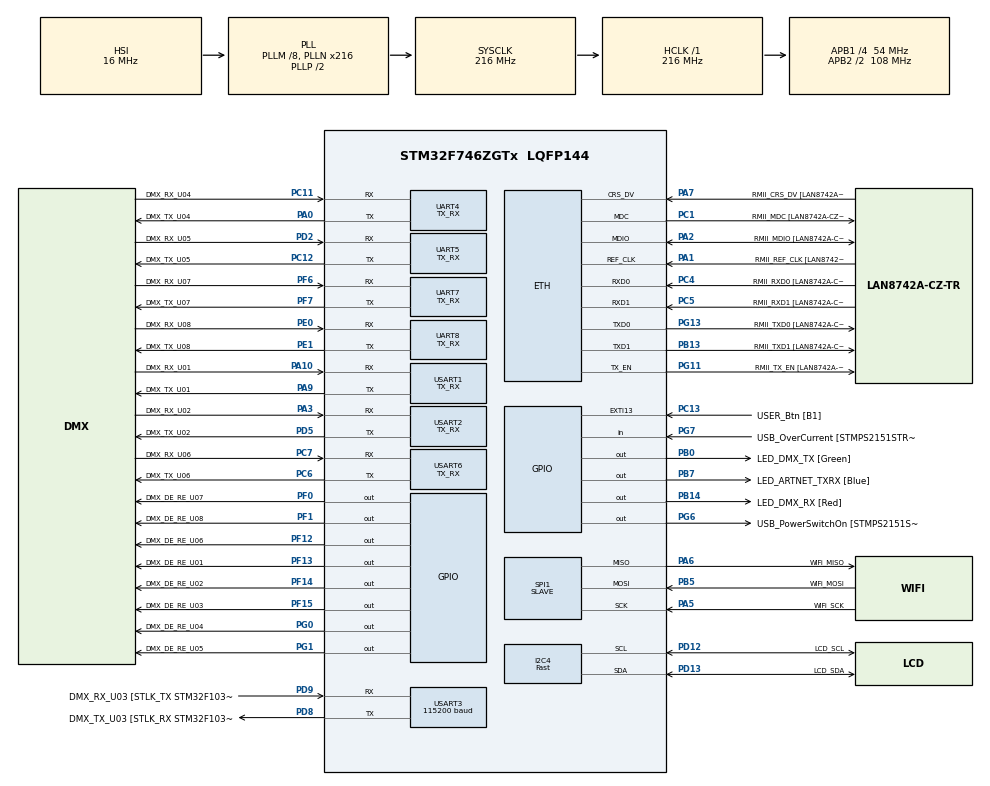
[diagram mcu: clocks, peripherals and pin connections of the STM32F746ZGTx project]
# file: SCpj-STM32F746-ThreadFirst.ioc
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CORTEX_M7.ART_ACCLERATOR_ENABLE=0
CORTEX_M7.CPU_DCache=Disabled
CORTEX_M7.CPU_ICache=Disabled
CORTEX_M7.FlashInterface=AXI_Enabled
CORTEX_M7.MPU_Control=__NULL
CORTEX_M7.PREFETCH_ENABLE=0
Dma.I2C4_RX.1.Direction=DMA_PERIPH_TO_MEMORY
Dma.I2C4_RX.1.FIFOMode=DMA_FIFOMODE_DISABLE
Dma.I2C4_RX.1.Instance=DMA1_Stream2
Dma.I2C4_RX.1.MemDataAlignment=DMA_MDATAALIGN_BYTE
Dma.I2C4_RX.1.MemInc=DMA_MINC_ENABLE
Dma.I2C4_RX.1.Mode=DMA_NORMAL
Dma.I2C4_RX.1.PeriphDataAlignment=DMA_PDATAALIGN_BYTE
Dma.I2C4_RX.1.PeriphInc=DMA_PINC_DISABLE
Dma.I2C4_RX.1.Priority=DMA_PRIORITY_LOW
Dma.I2C4_TX.2.Direction=DMA_MEMORY_TO_PERIPH
Dma.I2C4_TX.2.FIFOMode=DMA_FIFOMODE_DISABLE
Dma.I2C4_TX.2.Instance=DMA1_Stream5
Dma.I2C4_TX.2.MemDataAlignment=DMA_MDATAALIGN_BYTE
Dma.I2C4_TX.2.MemInc=DMA_MINC_ENABLE
Dma.I2C4_TX.2.Mode=DMA_NORMAL
Dma.I2C4_TX.2.PeriphDataAlignment=DMA_PDATAALIGN_BYTE
Dma.I2C4_TX.2.PeriphInc=DMA_PINC_DISABLE
Dma.I2C4_TX.2.Priority=DMA_PRIORITY_LOW
Dma.Request0=USART6_TX
Dma.Request1=I2C4_RX
Dma.Request2=I2C4_TX
Dma.Request3=UART4_TX
Dma.Request4=USART2_TX
Dma.Request5=USART1_TX
Dma.Request6=UART8_TX
Dma.Request7=UART7_TX
Dma.Request8=UART5_TX
Dma.UART4_TX.3.Direction=DMA_MEMORY_TO_PERIPH
Dma.UART4_TX.3.FIFOMode=DMA_FIFOMODE_DISABLE
Dma.UART4_TX.3.Instance=DMA1_Stream4
Dma.UART4_TX.3.MemDataAlignment=DMA_MDATAALIGN_BYTE
Dma.UART4_TX.3.MemInc=DMA_MINC_ENABLE
Dma.UART4_TX.3.Mode=DMA_NORMAL
Dma.UART4_TX.3.PeriphDataAlignment=DMA_PDATAALIGN_BYTE
Dma.UART4_TX.3.PeriphInc=DMA_PINC_DISABLE
Dma.UART4_TX.3.Priority=DMA_PRIORITY_LOW
Dma.UART5_TX.8.Direction=DMA_MEMORY_TO_PERIPH
Dma.UART5_TX.8.FIFOMode=DMA_FIFOMODE_DISABLE
Dma.UART5_TX.8.Instance=DMA1_Stream7
Dma.UART5_TX.8.MemDataAlignment=DMA_MDATAALIGN_BYTE
Dma.UART5_TX.8.MemInc=DMA_MINC_ENABLE
Dma.UART5_TX.8.Mode=DMA_NORMAL
Dma.UART5_TX.8.PeriphDataAlignment=DMA_PDATAALIGN_BYTE
Dma.UART5_TX.8.PeriphInc=DMA_PINC_DISABLE
Dma.UART5_TX.8.Priority=DMA_PRIORITY_LOW
Dma.UART7_TX.7.Direction=DMA_MEMORY_TO_PERIPH
Dma.UART7_TX.7.FIFOMode=DMA_FIFOMODE_DISABLE
Dma.UART7_TX.7.Instance=DMA1_Stream1
Dma.UART7_TX.7.MemDataAlignment=DMA_MDATAALIGN_BYTE
Dma.UART7_TX.7.MemInc=DMA_MINC_ENABLE
Dma.UART7_TX.7.Mode=DMA_NORMAL
Dma.UART7_TX.7.PeriphDataAlignment=DMA_PDATAALIGN_BYTE
Dma.UART7_TX.7.PeriphInc=DMA_PINC_DISABLE
Dma.UART7_TX.7.Priority=DMA_PRIORITY_LOW
Dma.UART8_TX.6.Direction=DMA_MEMORY_TO_PERIPH
Dma.UART8_TX.6.FIFOMode=DMA_FIFOMODE_DISABLE
Dma.UART8_TX.6.Instance=DMA1_Stream0
Dma.UART8_TX.6.MemDataAlignment=DMA_MDATAALIGN_BYTE
Dma.UART8_TX.6.MemInc=DMA_MINC_ENABLE
Dma.UART8_TX.6.Mode=DMA_NORMAL
Dma.UART8_TX.6.PeriphDataAlignment=DMA_PDATAALIGN_BYTE
Dma.UART8_TX.6.PeriphInc=DMA_PINC_DISABLE
Dma.UART8_TX.6.Priority=DMA_PRIORITY_LOW
Dma.USART1_TX.5.Direction=DMA_MEMORY_TO_PERIPH
Dma.USART1_TX.5.FIFOMode=DMA_FIFOMODE_DISABLE
Dma.USART1_TX.5.Instance=DMA2_Stream7
Dma.USART1_TX.5.MemDataAlignment=DMA_MDATAALIGN_BYTE
Dma.USART1_TX.5.MemInc=DMA_MINC_ENABLE
Dma.USART1_TX.5.Mode=DMA_NORMAL
Dma.USART1_TX.5.PeriphDataAlignment=DMA_PDATAALIGN_BYTE
Dma.USART1_TX.5.PeriphInc=DMA_PINC_DISABLE
Dma.USART1_TX.5.Priority=DMA_PRIORITY_LOW
Dma.USART2_TX.4.Direction=DMA_MEMORY_TO_PERIPH
Dma.USART2_TX.4.FIFOMode=DMA_FIFOMODE_DISABLE
Dma.USART2_TX.4.Instance=DMA1_Stream6
Dma.USART2_TX.4.MemDataAlignment=DMA_MDATAALIGN_BYTE
Dma.USART2_TX.4.MemInc=DMA_MINC_ENABLE
Dma.USART2_TX.4.Mode=DMA_NORMAL
Dma.USART2_TX.4.PeriphDataAlignment=DMA_PDATAALIGN_BYTE
Dma.USART2_TX.4.PeriphInc=DMA_PINC_DISABLE
Dma.USART2_TX.4.Priority=DMA_PRIORITY_LOW
Dma.USART6_TX.0.Direction=DMA_MEMORY_TO_PERIPH
Dma.USART6_TX.0.FIFOMode=DMA_FIFOMODE_DISABLE
Dma.USART6_TX.0.Instance=DMA2_Stream6
Dma.USART6_TX.0.MemDataAlignment=DMA_MDATAALIGN_BYTE
Dma.USART6_TX.0.MemInc=DMA_MINC_ENABLE
Dma.USART6_TX.0.Mode=DMA_NORMAL
Dma.USART6_TX.0.PeriphDataAlignment=DMA_PDATAALIGN_BYTE
Dma.USART6_TX.0.PeriphInc=DMA_PINC_DISABLE
Dma.USART6_TX.0.Priority=DMA_PRIORITY_LOW
ETH.AutoNegotiation=ETH_AUTONEGOTIATION_ENABLE
ETH.ChecksumMode=ETH_CHECKSUM_BY_HARDWARE
ETH.MACAddr=00\:80\:E1\:00\:00\:00
ETH.MediaInterface=ETH_MEDIA_INTERFACE_RMII
ETH.PHY_AUTONEGOTIATION=0x1000
ETH.PHY_AUTONEGO_COMPLETE=0x0020
ETH.PHY_BCR=0x00
ETH.PHY_BSR=0x01
ETH.PHY_CONFIG_DELAY=0x00000FFF
ETH.PHY_DUPLEX_STATUS=0x0010
ETH.PHY_FULLDUPLEX_100M=0x2100
ETH.PHY_FULLDUPLEX_10M=0x0100
ETH.PHY_HALFDUPLEX_100M=0x2000
ETH.PHY_HALFDUPLEX_10M=0x0000
ETH.PHY_ISFR=0x001D
ETH.PHY_ISFR_INT4=0x000B
ETH.PHY_ISOLATE=0x0400
ETH.PHY_JABBER_DETECTION=0x0002
ETH.PHY_LINKED_STATUS=0x0004
ETH.PHY_LOOPBACK=0x4000
ETH.PHY_Name_RMII=LAN8742A_PHY_ADDRESS
ETH.PHY_POWERDOWN=0x0800
ETH.PHY_READ_TO=0x0000FFFF
ETH.PHY_RESET=0x8000
ETH.PHY_RESET_DELAY=0x000000FF
ETH.PHY_RESTART_AUTONEGOTIATION=0x0200
ETH.PHY_SPEED_STATUS=0x0004
ETH.PHY_SR=0x1F
ETH.PHY_WRITE_TO=0x0000FFFF
ETH.PhyAddress=0
ETH.RxMode=ETH_RXINTERRUPT_MODE
FREERTOS.HEAP_NUMBER=4
FREERTOS.INCLUDE_eTaskGetState=0
FREERTOS.INCLUDE_pcTaskGetTaskName=0
FREERTOS.INCLUDE_uxTaskGetStackHighWaterMark=0
FREERTOS.INCLUDE_uxTaskPriorityGet=1
FREERTOS.INCLUDE_vTaskCleanUpResources=0
FREERTOS.INCLUDE_vTaskDelay=1
FREERTOS.INCLUDE_vTaskDelayUntil=0
FREERTOS.INCLUDE_vTaskDelete=1
FREERTOS.INCLUDE_vTaskPrioritySet=1
FREERTOS.INCLUDE_vTaskSuspend=1
FREERTOS.INCLUDE_xEventGroupSetBitFromISR=0
FREERTOS.INCLUDE_xQueueGetMutexHolder=0
FREERTOS.INCLUDE_xSemaphoreGetMutexHolder=0
FREERTOS.INCLUDE_xTaskAbortDelay=0
FREERTOS.INCLUDE_xTaskGetCurrentTaskHandle=0
FREERTOS.INCLUDE_xTaskGetHandle=0
FREERTOS.INCLUDE_xTaskGetSchedulerState=1
FREERTOS.INCLUDE_xTaskResumeFromISR=1
FREERTOS.INCLUDE_xTimerPendFunctionCall=0
FREERTOS.MEMORY_ALLOCATION=0
FREERTOS.Tasks01=defaultTask,0,128,StartDefaultTask,Default,NULL,Dynamic,NULL,NULL;DMX_TX_U01,0,128,Start_DMX_TX_U01,Default,NULL,Dynamic,NULL,NULL;DMX_TX_U02,0,128,Start_DMX_TX_U02,Default,NULL,Dynamic,NULL,NULL;DMX_TX_U03,0,128,Start_DMX_TX_U03,Default,NULL,Dynamic,NULL,NULL;DMX_TX_U04,0,128,Start_DMX_TX_U04,Default,NULL,Dynamic,NULL,NULL;DMX_TX_U05,0,128,Start_DMX_TX_U05,Default,NULL,Dynamic,NULL,NULL;DMX_TX_U06,0,128,Start_DMX_TX_U06,Default,NULL,Dynamic,NULL,NULL;DMX_TX_U07,0,128,Start_DMX_TX_U07,Default,NULL,Dynamic,NULL,NULL;DMX_TX_U08,0,128,Start_DMX_TX_U08,Default,NULL,Dynamic,NULL,NULL
FREERTOS.configCHECK_FOR_STACK_OVERFLOW=0
FREERTOS.configENABLE_BACKWARD_COMPATIBILITY=1
FREERTOS.configGENERATE_RUN_TIME_STATS=1
FREERTOS.configIDLE_SHOULD_YIELD=1
FREERTOS.configLIBRARY_LOWEST_INTERRUPT_PRIORITY=15
FREERTOS.configLIBRARY_MAX_SYSCALL_INTERRUPT_PRIORITY=5
FREERTOS.configMAX_CO_ROUTINE_PRIORITIES=2
FREERTOS.configMAX_PRIORITIES=7
FREERTOS.configMAX_TASK_NAME_LEN=16
FREERTOS.configMINIMAL_STACK_SIZE=128
FREERTOS.configQUEUE_REGISTRY_SIZE=8
FREERTOS.configRECORD_STACK_HIGH_ADDRESS=0
FREERTOS.configTICK_RATE_HZ=1000
FREERTOS.configTIMER_QUEUE_LENGTH=10
FREERTOS.configTIMER_TASK_PRIORITY=2
FREERTOS.configTIMER_TASK_STACK_DEPTH=256
FREERTOS.configTOTAL_HEAP_SIZE=15360
FREERTOS.configUSE_APPLICATION_TASK_TAG=0
FREERTOS.configUSE_COUNTING_SEMAPHORES=0
FREERTOS.configUSE_CO_ROUTINES=0
FREERTOS.configUSE_DAEMON_TASK_STARTUP_HOOK=0
FREERTOS.configUSE_IDLE_HOOK=0
FREERTOS.configUSE_MALLOC_FAILED_HOOK=0
FREERTOS.configUSE_MUTEXES=1
FREERTOS.configUSE_PREEMPTION=1
FREERTOS.configUSE_RECURSIVE_MUTEXES=0
FREERTOS.configUSE_STATS_FORMATTING_FUNCTIONS=1
FREERTOS.configUSE_TASK_NOTIFICATIONS=1
FREERTOS.configUSE_TICKLESS_IDLE=0
FREERTOS.configUSE_TICK_HOOK=0
FREERTOS.configUSE_TIMERS=1
FREERTOS.configUSE_TRACE_FACILITY=1
I2C4.AddressingMode=I2C_ADDRESSINGMODE_7BIT
I2C4.Analog_Filter=I2C_ANALOGFILTER_ENABLE
I2C4.DualAddressMode=I2C_DUALADDRESS_DISABLE
I2C4.GeneralCallMode=I2C_GENERALCALL_DISABLE
I2C4.I2C_Coeff_DF=0
I2C4.I2C_Fall_Time=0
I2C4.I2C_Rise_Time=0
I2C4.I2C_Speed_Mode=I2C_Fast
I2C4.NoStretchMode=I2C_NOSTRETCH_DISABLE
I2C4.OwnAddress=0
I2C4.Speed=100
I2C4.Timing=0x20100CA3
LWIP.API_LIB_DEBUG=LWIP_DBG_OFF
LWIP.API_MSG_DEBUG=LWIP_DBG_OFF
LWIP.ARP_MAXAGE=300
LWIP.ARP_QUEUEING=0
LWIP.ARP_QUEUE_LEN=3
LWIP.ARP_TABLE_SIZE=10
LWIP.AUTOIP_DEBUG=LWIP_DBG_OFF
LWIP.CBCP_SUPPORT=0
LWIP.CCP_SUPPORT=0
LWIP.CHAP_DEFTIMEOUT=6
LWIP.CHAP_DEFTRANSMITS=10
LWIP.CHAP_SUPPORT=0
LWIP.CHECKSUM_BY_HARDWARE=0
LWIP.CHECKSUM_CHECK_ICMP=0
LWIP.CHECKSUM_CHECK_ICMP6=0
LWIP.CHECKSUM_CHECK_IP=0
LWIP.CHECKSUM_CHECK_TCP=0
LWIP.CHECKSUM_CHECK_UDP=0
LWIP.CHECKSUM_GEN_ICMP=0
LWIP.CHECKSUM_GEN_ICMP6=0
LWIP.CHECKSUM_GEN_IP=0
LWIP.CHECKSUM_GEN_TCP=0
LWIP.CHECKSUM_GEN_UDP=0
LWIP.DEFAULT_ACCEPTMBOX_SIZE=6
LWIP.DEFAULT_RAW_RECVMBOX_SIZE=0
LWIP.DEFAULT_TCP_RECVMBOX_SIZE=6
LWIP.DEFAULT_THREAD_NAME="lwIP"
LWIP.DEFAULT_THREAD_PRIO=3
LWIP.DEFAULT_THREAD_STACKSIZE=1024
LWIP.DEFAULT_UDP_RECVMBOX_SIZE=6
LWIP.DEMAND_SUPPORT=0
LWIP.DHCP_DEBUG=LWIP_DBG_OFF
LWIP.DHCP_DOES_ARP_CHECK=1
LWIP.DNS_DEBUG=LWIP_DBG_OFF
LWIP.DNS_DOES_NAME_CHECK=1
LWIP.DNS_LOCAL_HOSTLIST=0
LWIP.DNS_LOCAL_HOSTLIST_IS_DYNAMIC=0
LWIP.DNS_MAX_NAME_LENGTH=256
LWIP.DNS_MAX_SERVERS=2
LWIP.DNS_TABLE_SIZE=4
LWIP.EAP_DEFALLOWREQ=10
LWIP.EAP_DEFREQTIME=6
LWIP.EAP_SUPPORT=0
LWIP.ECP_SUPPORT=0
LWIP.ETHARP_DEBUG=LWIP_DBG_OFF
LWIP.ETHARP_STATS=0
LWIP.ETHARP_SUPPORT_STATIC_ENTRIES=0
LWIP.ETHARP_SUPPORT_VLAN=0
LWIP.ETHARP_TABLE_MATCH_NETIF=0
LWIP.ETH_PAD_SIZE=0
LWIP.FSM_DEFMAXCONFREQS=10
LWIP.FSM_DEFMAXNAKLOOPS=5
LWIP.FSM_DEFMAXTERMREQS=2
LWIP.FSM_DEFTIMEOUT=6
LWIP.HTTPD_DEBUG=LWIP_DBG_OFF
LWIP.HTTPD_DEBUG_TIMING=LWIP_DBG_OFF
LWIP.ICMP6_STATS=0
LWIP.ICMP_DEBUG=LWIP_DBG_OFF
LWIP.ICMP_STATS=0
LWIP.ICMP_TTL=255
LWIP.IGMP_DEBUG=LWIP_DBG_OFF
LWIP.IGMP_STATS=0
LWIP.INET_DEBUG=LWIP_DBG_OFF
LWIP.IP6_DEBUG=LWIP_DBG_OFF
LWIP.IP6_FRAG_STATS=0
LWIP.IP6_STATS=0
LWIP.IPFRAG_STATS=0
LWIP.IP_DEBUG=LWIP_DBG_OFF
LWIP.IP_DEFAULT_TTL=255
LWIP.IP_FORWARD=0
LWIP.IP_FORWARD_ALLOW_TX_ON_RX_NETIF=0
LWIP.IP_FRAG=1
LWIP.IP_OPTIONS_ALLOWED=1
LWIP.IP_REASSEMBLY=1
LWIP.IP_REASS_DEBUG=LWIP_DBG_OFF
LWIP.IP_REASS_MAXAGE=3
LWIP.IP_REASS_MAX_PBUFS=10
LWIP.IP_SOF_BROADCAST=0
LWIP.IP_SOF_BROADCAST_RECV=0
LWIP.IP_STATS=0
LWIP.LCP_DEFLOOPBACKFAIL=10
LWIP.LCP_ECHOINTERVAL=0
LWIP.LCP_MAXECHOFAILS=3
LWIP.LINK_STATS=0
LWIP.LQR_SUPPORT=0
LWIP.LWIP_ALLOW_MEM_FREE_FROM_OTHER_CONTEXT=0
LWIP.LWIP_ARP=1
LWIP.LWIP_AUTOIP=0
LWIP.LWIP_BROADCAST_PING=0
LWIP.LWIP_CALLBACK_API=1
LWIP.LWIP_CHECKSUM_CTRL_PER_NETIF=0
LWIP.LWIP_CHECKSUM_ON_COPY=0
LWIP.LWIP_COMPAT_SOCKETS=1
LWIP.LWIP_DBG_MIN_LEVEL=LWIP_DBG_LEVEL_ALL
LWIP.LWIP_DBG_TYPES_ON=LWIP_DBG_ON
LWIP.LWIP_DHCP=1
LWIP.LWIP_DHCP_AUTOIP_COOP=0
LWIP.LWIP_DHCP_AUTOIP_COOP_TRIES=9
LWIP.LWIP_DHCP_BOOTP_FILE=0
LWIP.LWIP_DHCP_CHECK_LINK_UP=0
LWIP.LWIP_DHCP_GET_NTP_SRV=0
LWIP.LWIP_DHCP_MAX_DNS_SERVERS=2
LWIP.LWIP_DHCP_MAX_NTP_SERVERS=1
LWIP.LWIP_DISABLE_MEMP_SANITY_CHECKS=0
LWIP.LWIP_DISABLE_TCP_SANITY_CHECKS=0
LWIP.LWIP_DNS=0
LWIP.LWIP_DNS_SECURE=7
LWIP.LWIP_DNS_SUPPORT_MDNS_QUERIES=0
LWIP.LWIP_ETHERNET=1
LWIP.LWIP_EVENT_API=0
LWIP.LWIP_FIONREAD_LINUXMODE=0
LWIP.LWIP_HAVE_LOOPIF=0
LWIP.LWIP_HTTPD=0
LWIP.LWIP_ICMP=1
LWIP.LWIP_ICMP6=0
LWIP.LWIP_ICMP6_DATASIZE=8
LWIP.LWIP_ICMP6_HL=255
LWIP.LWIP_IGMP=0
LWIP.LWIP_INCLUDED_POLARSSL_ARC4=0
LWIP.LWIP_INCLUDED_POLARSSL_DES=0
LWIP.LWIP_INCLUDED_POLARSSL_MD4=0
LWIP.LWIP_INCLUDED_POLARSSL_MD5=0
LWIP.LWIP_INCLUDED_POLARSSL_SHA1=0
LWIP.LWIP_IPV4=1
LWIP.LWIP_IPV6=0
LWIP.LWIP_IPV6_AUTOCONFIG=0
LWIP.LWIP_IPV6_DUP_DETECT_ATTEMPTS=1
LWIP.LWIP_IPV6_FORWARD=0
LWIP.LWIP_IPV6_FRAG=0
LWIP.LWIP_IPV6_MLD=0
LWIP.LWIP_IPV6_NUM_ADDRESSES=3
LWIP.LWIP_IPV6_REASS=0
LWIP.LWIP_IPV6_SEND_ROUTER_SOLICIT=1
LWIP.LWIP_LOOPBACK_MAX_PBUFS=0
LWIP.LWIP_LOOPIF_MULTICAST=0
LWIP.LWIP_MDNS=0
LWIP.LWIP_MIB2_CALLBACKS=0
LWIP.LWIP_MPU_COMPATIBLE=0
LWIP.LWIP_MULTICAST_PING=0
LWIP.LWIP_MULTICAST_TX_OPTIONS=0
LWIP.LWIP_ND6_ALLOW_RA_UPDATES=1
LWIP.LWIP_ND6_DELAY_FIRST_PROBE_TIME=5000
LWIP.LWIP_ND6_MAX_ANYCAST_DELAY_TIME=1000
LWIP.LWIP_ND6_MAX_MULTICAST_SOLICIT=3
LWIP.LWIP_ND6_MAX_NEIGHBOR_ADVERTISEMENT=3
LWIP.LWIP_ND6_MAX_UNICAST_SOLICIT=3
LWIP.LWIP_ND6_NUM_DESTINATIONS=10
LWIP.LWIP_ND6_NUM_NEIGHBORS=10
LWIP.LWIP_ND6_NUM_PREFIXES=5
LWIP.LWIP_ND6_NUM_ROUTERS=3
LWIP.LWIP_ND6_QUEUEING=0
LWIP.LWIP_ND6_RDNSS_MAX_DNS_SERVERS=0
LWIP.LWIP_ND6_REACHABLE_TIME=30000
LWIP.LWIP_ND6_RETRANS_TIMER=1000
LWIP.LWIP_ND6_TCP_REACHABILITY_HINTS=1
LWIP.LWIP_NETBUF_RECVINFO=0
LWIP.LWIP_NETCONN=1
LWIP.LWIP_NETCONN_FULLDUPLEX=0
LWIP.LWIP_NETCONN_SEM_PER_THREAD=0
LWIP.LWIP_NETIF_API=0
LWIP.LWIP_NETIF_HOSTNAME=0
LWIP.LWIP_NETIF_HWADDRHINT=0
LWIP.LWIP_NETIF_LINK_CALLBACK=0
LWIP.LWIP_NETIF_LOOPBACK=0
LWIP.LWIP_NETIF_LOOPBACK_MULTITHREADING=1
LWIP.LWIP_NETIF_REMOVE_CALLBACK=0
LWIP.LWIP_NETIF_STATUS_CALLBACK=0
LWIP.LWIP_NETIF_TX_SINGLE_PBUF=0
LWIP.LWIP_NUM_NETIF_CLIENT_DATA=0
LWIP.LWIP_PERF=0
LWIP.LWIP_POSIX_SOCKETS_IO_NAMES=1
LWIP.LWIP_PPP_API=0
LWIP.LWIP_RANDOMIZE_INITIAL_LOCAL_PORTS=0
LWIP.LWIP_RAW=0
LWIP.LWIP_SNMP=0
LWIP.LWIP_SNMP_V3=0
LWIP.LWIP_SNMP_V3_CRYPTO=0
LWIP.LWIP_SNMP_V3_MBEDTLS=0
LWIP.LWIP_SNTP=0
LWIP.LWIP_SOCKET=1
LWIP.LWIP_SOCKET_OFFSET=0
LWIP.LWIP_SOCKET_SET_ERRNO=1
LWIP.LWIP_SO_LINGER=0
LWIP.LWIP_SO_RCVBUF=0
LWIP.LWIP_SO_RCVTIMEO=0
LWIP.LWIP_SO_SNDRCVTIMEO_NONSTANDARD=0
LWIP.LWIP_SO_SNDTIMEO=0
LWIP.LWIP_STATS=0
LWIP.LWIP_STATS_DISPLAY=0
LWIP.LWIP_TCP=1
LWIP.LWIP_TCPIP_CORE_LOCKING=0
LWIP.LWIP_TCPIP_CORE_LOCKING_INPUT=0
LWIP.LWIP_TCPIP_TIMEOUT=0
LWIP.LWIP_TCP_CLOSE_TIMEOUT_MS_DEFAULT=20000
LWIP.LWIP_TCP_KEEPALIVE=0
LWIP.LWIP_TCP_TIMESTAMPS=0
LWIP.LWIP_TFTP=0
LWIP.LWIP_TIMERS=1
LWIP.LWIP_TIMERS_CUSTOM=0
LWIP.LWIP_UDP=1
LWIP.LWIP_UDPLITE=0
LWIP.LWIP_USE_EXTERNAL_MBEDTLS=0
LWIP.LWIP_USE_EXTERNAL_POLARSSL=0
LWIP.LWIP_WND_SCALE=0
LWIP.MAXNAMELEN=256
LWIP.MAXSECRETLEN=256
LWIP.MDNS_DEBUG=LWIP_DBG_OFF
LWIP.MEMCPY(dst,src,len)=memcpy(dst,src,len)
LWIP.MEMP_DEBUG=LWIP_DBG_OFF
LWIP.MEMP_MEM_MALLOC=0
LWIP.MEMP_NUM_API_MSG=8
LWIP.MEMP_NUM_ARP_QUEUE=30
LWIP.MEMP_NUM_DNS_API_MSG=8
LWIP.MEMP_NUM_FRAG_PBUF=15
LWIP.MEMP_NUM_IGMP_GROUP=8
LWIP.MEMP_NUM_LOCALHOSTLIST=1
LWIP.MEMP_NUM_MLD6_GROUP=4
LWIP.MEMP_NUM_ND6_QUEUE=20
LWIP.MEMP_NUM_NETBUF=2
LWIP.MEMP_NUM_NETCONN=4
LWIP.MEMP_NUM_NETDB=1
LWIP.MEMP_NUM_NETIFAPI_MSG=8
LWIP.MEMP_NUM_PBUF=16
LWIP.MEMP_NUM_PPPOE_INTERFACES=1
LWIP.MEMP_NUM_PPPOL2TP_INTERFACES=1
LWIP.MEMP_NUM_PPPOS_INTERFACES=1
LWIP.MEMP_NUM_PPP_API_MSG=5
LWIP.MEMP_NUM_PPP_PCB=1
LWIP.MEMP_NUM_RAW_PCB=4
LWIP.MEMP_NUM_REASSDATA=5
LWIP.MEMP_NUM_SOCKET_SETGETSOCKOPT_DATA=8
LWIP.MEMP_NUM_SYS_TIMEOUT=5
LWIP.MEMP_NUM_TCPIP_MSG_API=8
LWIP.MEMP_NUM_TCPIP_MSG_INPKT=8
LWIP.MEMP_NUM_TCP_PCB=5
LWIP.MEMP_NUM_TCP_PCB_LISTEN=8
LWIP.MEMP_NUM_TCP_SEG=16
LWIP.MEMP_NUM_UDP_PCB=4
LWIP.MEMP_OVERFLOW_CHECK=0
LWIP.MEMP_SANITY_CHECK=0
LWIP.MEMP_STATS=0
LWIP.MEMP_USE_CUSTOM_POOLS=0
LWIP.MEM_ALIGNMENT=4
LWIP.MEM_DEBUG=LWIP_DBG_OFF
LWIP.MEM_LIBC_MALLOC=0
LWIP.MEM_SIZE=1600
LWIP.MEM_STATS=0
LWIP.MEM_USE_POOLS=0
LWIP.MEM_USE_POOLS_TRY_BIGGER_POOL=0
LWIP.MIB2_STATS=0
LWIP.MLD6_STATS=0
LWIP.MPPE_SUPPORT=0
LWIP.MSCHAP_SUPPORT=0
LWIP.ND6_STATS=0
LWIP.NETIF_DEBUG=LWIP_DBG_OFF
LWIP.NO_SYS=0
LWIP.PAP_SUPPORT=0
LWIP.PBUF_DEBUG=LWIP_DBG_OFF
LWIP.PBUF_LINK_ENCAPSULATION_HLEN=0
LWIP.PBUF_LINK_HLEN=14
LWIP.PBUF_POOL_BUFSIZE=592
LWIP.PBUF_POOL_SIZE=16
LWIP.PPPOE_SUPPORT=0
LWIP.PPPOL2TP_AUTH_SUPPORT=0
LWIP.PPPOL2TP_SUPPORT=0
LWIP.PPPOS_SUPPORT=0
LWIP.PPP_DEBUG=LWIP_DBG_OFF
LWIP.PPP_DEFMRU=1500
LWIP.PPP_FCS_TABLE=1
LWIP.PPP_INPROC_IRQ_SAFE=0
LWIP.PPP_IPV4_SUPPORT=1
LWIP.PPP_IPV6_SUPPORT=0
LWIP.PPP_MAXIDLEFLAG=100
LWIP.PPP_MAXMRU=1500
LWIP.PPP_MD5_RANDM=0
LWIP.PPP_MINMRU=128
LWIP.PPP_MRU=1500
LWIP.PPP_NOTIFY_PHASE=0
LWIP.PPP_SERVER=0
LWIP.PPP_SUPPORT=0
LWIP.PPP_USE_PBUF_RAM=0
LWIP.PRINTPKT_SUPPORT=0
LWIP.RAW_DEBUG=LWIP_DBG_OFF
LWIP.RAW_TTL=255
LWIP.RECV_BUFSIZE_DEFAULT=2000000000
LWIP.SLIPIF_THREAD_NAME="slipif_loop"
LWIP.SLIPIF_THREAD_PRIO=3
LWIP.SLIPIF_THREAD_STACKSIZE=1024
LWIP.SLIP_DEBUG=LWIP_DBG_OFF
LWIP.SMEMCPY(dst,src,len)=memcpy(dst,src,len)
LWIP.SNMP_DEBUG=LWIP_DBG_OFF
LWIP.SNMP_LWIP_MIB2=0
LWIP.SNMP_MIB_DEBUG=LWIP_DBG_OFF
LWIP.SNMP_USE_NETCONN=0
LWIP.SNMP_USE_RAW=1
LWIP.SNTP_DEBUG=LWIP_DBG_OFF
LWIP.SNTP_SERVER_DNS=0
LWIP.SOCKETS_DEBUG=LWIP_DBG_OFF
LWIP.SO_REUSE=0
LWIP.SO_REUSE_RXTOALL=0
LWIP.SYS_DEBUG=LWIP_DBG_OFF
LWIP.SYS_LIGHTWEIGHT_PROT=1
LWIP.SYS_STATS=0
LWIP.TCPIP_DEBUG=LWIP_DBG_OFF
LWIP.TCPIP_MBOX_SIZE=6
LWIP.TCPIP_THREAD_NAME="tcpip_thread"
LWIP.TCPIP_THREAD_PRIO=3
LWIP.TCPIP_THREAD_STACKSIZE=1024
LWIP.TCP_CALCULATE_EFF_SEND_MSS=1
LWIP.TCP_CWND_DEBUG=LWIP_DBG_OFF
LWIP.TCP_DEBUG=LWIP_DBG_OFF
LWIP.TCP_DEFAULT_LISTEN_BACKLOG=255
LWIP.TCP_FR_DEBUG=LWIP_DBG_OFF
LWIP.TCP_INPUT_DEBUG=LWIP_DBG_OFF
LWIP.TCP_LISTEN_BACKLOG=0
LWIP.TCP_MAXRTX=12
LWIP.TCP_MSS=536
LWIP.TCP_OOSEQ_MAX_BYTES=0
LWIP.TCP_OOSEQ_MAX_PBUFS=0
LWIP.TCP_OUTPUT_DEBUG=LWIP_DBG_OFF
LWIP.TCP_OVERSIZE=TCP_MSS
LWIP.TCP_QLEN_DEBUG=LWIP_DBG_OFF
LWIP.TCP_QUEUE_OOSEQ=1
LWIP.TCP_RCV_SCALE=0
LWIP.TCP_RST_DEBUG=LWIP_DBG_OFF
LWIP.TCP_RTO_DEBUG=LWIP_DBG_OFF
LWIP.TCP_SNDLOWAT=1071
LWIP.TCP_SNDQUEUELOWAT=5
LWIP.TCP_SND_BUF=1072
LWIP.TCP_SND_QUEUELEN=9
LWIP.TCP_STATS=0
LWIP.TCP_SYNMAXRTX=6
LWIP.TCP_TTL=255
LWIP.TCP_WND=2144
LWIP.TCP_WND_DEBUG=LWIP_DBG_OFF
LWIP.TCP_WND_UPDATE_THRESHOLD=536
LWIP.TFTP_DEBUG=LWIP_DBG_OFF
LWIP.TIMERS_DEBUG=LWIP_DBG_OFF
LWIP.UDP_DEBUG=LWIP_DBG_OFF
LWIP.UDP_STATS=0
LWIP.UDP_TTL=255
LWIP.UPAP_DEFREQTIME=30
LWIP.UPAP_DEFTIMEOUT=6
LWIP.UPAP_DEFTRANSMITS=10
LWIP.VJ_SUPPORT=0
LWIP.Version=v2.0.3_Cube
Mcu.Family=STM32F7
Mcu.Name=STM32F746ZGTx
Mcu.Package=LQFP144
Mcu.UserConstants=DMX_BAUD_RATE,250000;DMX_STATE_MBB,1;DMX_STATE_BREAK,2;DMX_STATE_MAB,4;DMX_STATE_DMA,8;DMX_MARK_BEFORE_BREAK,64;DMX_MARK_BREAK,176;DMX_MARK_AFTER_BREAK,64;DMX_CHANNELS,512;DMX_START_CODE,0;DMX_TIM_Prescaler,107;DMX_TIM_CounterPeriod_x32,0xFFFFFFFF;DMX_TIM_CounterPeriod_x16,0xFFFF
NVIC.DMA1_Stream0_IRQn=true\:5\:0\:false\:false\:true\:true\:false\:true
NVIC.DMA1_Stream1_IRQn=true\:5\:0\:false\:false\:true\:true\:false\:true
NVIC.DMA1_Stream2_IRQn=true\:5\:0\:false\:false\:true\:true\:false\:true
NVIC.DMA1_Stream4_IRQn=true\:5\:0\:false\:false\:true\:true\:false\:true
NVIC.DMA1_Stream5_IRQn=true\:5\:0\:false\:false\:true\:true\:false\:true
NVIC.DMA1_Stream6_IRQn=true\:5\:0\:false\:false\:true\:true\:false\:true
NVIC.DMA1_Stream7_IRQn=true\:5\:0\:false\:false\:true\:true\:false\:true
NVIC.DMA2_Stream6_IRQn=true\:5\:0\:false\:false\:true\:true\:false\:true
NVIC.DMA2_Stream7_IRQn=true\:5\:0\:false\:false\:true\:true\:false\:true
NVIC.ETH_IRQn=true\:5\:0\:false\:false\:true\:true\:false\:true
NVIC.I2C4_EV_IRQn=true\:5\:0\:false\:false\:true\:true\:true\:true
NVIC.PriorityGroup=NVIC_PRIORITYGROUP_4
NVIC.TIM2_IRQn=true\:5\:0\:false\:false\:true\:true\:true\:true
NVIC.TIM8_TRG_COM_TIM14_IRQn=true\:0\:0\:false\:false\:true\:false\:false\:true
NVIC.TimeBase=TIM8_TRG_COM_TIM14_IRQn
NVIC.TimeBaseIP=TIM14
NVIC.UART4_IRQn=true\:5\:0\:false\:false\:true\:true\:true\:true
NVIC.UART5_IRQn=true\:5\:0\:false\:false\:true\:true\:true\:true
NVIC.UART7_IRQn=true\:5\:0\:false\:false\:true\:true\:true\:true
NVIC.UART8_IRQn=true\:5\:0\:false\:false\:true\:true\:true\:true
NVIC.USART1_IRQn=true\:5\:0\:false\:false\:true\:true\:true\:true
NVIC.USART2_IRQn=true\:5\:0\:false\:false\:true\:true\:true\:true
NVIC.USART6_IRQn=true\:5\:0\:false\:false\:true\:true\:true\:true
PA0/WKUP.GPIO_Label=DMX_TX_U04
PA0/WKUP.GPIO_PuPd=GPIO_PULLUP
PA0/WKUP.Mode=Asynchronous
PA0/WKUP.Signal=UART4_TX
PA1.GPIO_Label=RMII_REF_CLK [LAN8742A-CZ-TR_REFCLK0]
PA1.Mode=RMII
PA1.Signal=ETH_REF_CLK
PA10.GPIO_Label=DMX_RX_U01
PA10.GPIO_PuPd=GPIO_PULLUP
PA10.Mode=Asynchronous
PA10.Signal=USART1_RX
PA13.GPIO_Label=TMS
PA13.Mode=Serial_Wire
PA13.Signal=SYS_JTMS-SWDIO
PA14.GPIO_Label=TCK
PA14.Mode=Serial_Wire
PA14.Signal=SYS_JTCK-SWCLK
PA2.GPIO_Label=RMII_MDIO [LAN8742A-CZ-TR_MDIO]
PA2.Mode=RMII
PA2.Signal=ETH_MDIO
PA3.GPIO_Label=DMX_RX_U02
PA3.GPIO_PuPd=GPIO_PULLUP
PA3.Mode=Asynchronous
PA3.Signal=USART2_RX
PA5.GPIO_Label=WiFi_SCK
PA5.Mode=Full_Duplex_Slave
PA5.Signal=SPI1_SCK
PA6.GPIO_Label=WiFi_MISO
PA6.Mode=Full_Duplex_Slave
PA6.Signal=SPI1_MISO
PA7.GPIO_Label=RMII_CRS_DV [LAN8742A-CZ-TR_CRS_DV]
PA7.Mode=RMII
PA7.Signal=ETH_CRS_DV
PA9.GPIO_Label=DMX_TX_U01
PA9.GPIO_PuPd=GPIO_PULLUP
PA9.Mode=Asynchronous
PA9.Signal=USART1_TX
PB0.GPIO_Label=LED_DMX_TX [Green]
PB0.Signal=GPIO_Output
PB13.GPIO_Label=RMII_TXD1 [LAN8742A-CZ-TR_TXD1]
PB13.Mode=RMII
PB13.Signal=ETH_TXD1
PB14.GPIO_Label=LED_DMX_RX [Red]
PB14.Signal=GPIO_Output
PB3.GPIO_Label=SW0
PB3.Signal=SYS_JTDO-SWO
PB5.GPIO_Label=WiFi_MOSI
PB5.Mode=Full_Duplex_Slave
PB5.Signal=SPI1_MOSI
PB7.GPIO_Label=LED_ARTNET_TXRX [Blue]
PB7.Signal=GPIO_Output
PC1.GPIO_Label=RMII_MDC [LAN8742A-CZ-TR_MDC]
PC1.Mode=RMII
PC1.Signal=ETH_MDC
PC11.GPIO_Label=DMX_RX_U04
PC11.GPIO_PuPd=GPIO_PULLUP
PC11.Mode=Asynchronous
PC11.Signal=UART4_RX
PC12.GPIO_Label=DMX_TX_U05
PC12.GPIO_PuPd=GPIO_PULLUP
PC12.Mode=Asynchronous
PC12.Signal=UART5_TX
PC13.GPIO_Label=USER_Btn [B1]
PC13.Signal=GPXTI13
PC14/OSC32_IN.Mode=LSE-External-Oscillator
PC14/OSC32_IN.Signal=RCC_OSC32_IN
PC15/OSC32_OUT.Mode=LSE-External-Oscillator
PC15/OSC32_OUT.Signal=RCC_OSC32_OUT
PC4.GPIO_Label=RMII_RXD0 [LAN8742A-CZ-TR_RXD0]
PC4.Mode=RMII
PC4.Signal=ETH_RXD0
PC5.GPIO_Label=RMII_RXD1 [LAN8742A-CZ-TR_RXD1]
PC5.Mode=RMII
PC5.Signal=ETH_RXD1
PC6.GPIO_Label=DMX_TX_U06
PC6.GPIO_PuPd=GPIO_PULLUP
PC6.Mode=Asynchronous
PC6.Signal=USART6_TX
PC7.GPIO_Label=DMX_RX_U06
PC7.GPIO_PuPd=GPIO_PULLUP
PC7.Mode=Asynchronous
PC7.Signal=USART6_RX
PD12.GPIO_Label=LCD_SCL
PD12.Mode=I2C
PD12.Signal=I2C4_SCL
PD13.GPIO_Label=LCD_SDA
PD13.Mode=I2C
PD13.Signal=I2C4_SDA
PD2.GPIO_Label=DMX_RX_U05
PD2.GPIO_PuPd=GPIO_PULLUP
PD2.Mode=Asynchronous
PD2.Signal=UART5_RX
PD5.GPIO_Label=DMX_TX_U02
PD5.GPIO_PuPd=GPIO_PULLUP
PD5.Mode=Asynchronous
PD5.Signal=USART2_TX
PD8.GPIO_Label=DMX_TX_U03 [STLK_RX STM32F103CBT6_PA2]
PD8.GPIO_PuPd=GPIO_PULLUP
PD8.Mode=Asynchronous
PD8.Signal=USART3_TX
PD9.GPIO_Label=DMX_RX_U03 [STLK_TX STM32F103CBT6_PA3]
PD9.GPIO_PuPd=GPIO_PULLUP
PD9.Mode=Asynchronous
PD9.Signal=USART3_RX
PE0.GPIO_Label=DMX_RX_U08
PE0.GPIO_PuPd=GPIO_PULLUP
PE0.Mode=Asynchronous
PE0.Signal=UART8_RX
PE1.GPIO_Label=DMX_TX_U08
PE1.GPIO_PuPd=GPIO_PULLUP
PE1.Mode=Asynchronous
PE1.Signal=UART8_TX
PF0.GPIO_Label=DMX_DE_RE_U07
PF0.PinState=GPIO_PIN_SET
PF0.Signal=GPIO_Output
PF1.GPIO_Label=DMX_DE_RE_U08
PF1.PinState=GPIO_PIN_SET
PF1.Signal=GPIO_Output
PF12.GPIO_Label=DMX_DE_RE_U06
PF12.PinState=GPIO_PIN_SET
PF12.Signal=GPIO_Output
PF13.GPIO_Label=DMX_DE_RE_U01
PF13.PinState=GPIO_PIN_SET
PF13.Signal=GPIO_Output
PF14.GPIO_Label=DMX_DE_RE_U02
PF14.PinState=GPIO_PIN_SET
PF14.Signal=GPIO_Output
PF15.GPIO_Label=DMX_DE_RE_U03
PF15.PinState=GPIO_PIN_SET
PF15.Signal=GPIO_Output
PF6.GPIO_Label=DMX_RX_U07
PF6.GPIO_PuPd=GPIO_PULLUP
PF6.Mode=Asynchronous
PF6.Signal=UART7_RX
PF7.GPIO_Label=DMX_TX_U07
PF7.GPIO_PuPd=GPIO_PULLUP
PF7.Mode=Asynchronous
PF7.Signal=UART7_TX
PG0.GPIO_Label=DMX_DE_RE_U04
PG0.PinState=GPIO_PIN_SET
PG0.Signal=GPIO_Output
PG1.GPIO_Label=DMX_DE_RE_U05
PG1.PinState=GPIO_PIN_SET
PG1.Signal=GPIO_Output
PG11.GPIO_Label=RMII_TX_EN [LAN8742A-CZ-TR_TXEN]
PG11.Mode=RMII
PG11.Signal=ETH_TX_EN
PG13.GPIO_Label=RMII_TXD0 [LAN8742A-CZ-TR_TXD0]
PG13.Mode=RMII
PG13.Signal=ETH_TXD0
PG6.GPIO_Label=USB_PowerSwitchOn [STMPS2151STR_EN]
PG6.Signal=GPIO_Output
PG7.GPIO_Label=USB_OverCurrent [STMPS2151STR_FAULT]
PG7.Signal=GPIO_Input
PH0/OSC_IN.GPIO_Label=MCO [STM32F103CBT6_PA8]
PH0/OSC_IN.Mode=HSE-External-Clock-Source
PH0/OSC_IN.Signal=RCC_OSC_IN
PH1/OSC_OUT.Mode=HSE-External-Clock-Source
PH1/OSC_OUT.Signal=RCC_OSC_OUT
ProjectManager.HeapSize=0x200
ProjectManager.StackSize=0x400
ProjectManager.TargetToolchain=TrueSTUDIO
RCC.AHBFreq_Value=216000000
RCC.APB1CLKDivider=RCC_HCLK_DIV4
RCC.APB1Freq_Value=54000000
RCC.APB1TimFreq_Value=108000000
RCC.APB2CLKDivider=RCC_HCLK_DIV2
RCC.APB2Freq_Value=108000000
RCC.APB2TimFreq_Value=216000000
RCC.CortexFreq_Value=216000000
RCC.FLatency=FLASH_LATENCY_7
RCC.HCLKFreq_Value=216000000
RCC.HSE_VALUE=8000000
RCC.HSI_VALUE=16000000
RCC.PLLM=8
RCC.PLLN=216
RCC.PWREXT_OverDrive=PWREXT_OverDrive_ACTIVATED
RCC.PWR_Regulator_Voltage_Scale=PWR_REGULATOR_VOLTAGE_SCALE1
RCC.SYSCLKFreq_VALUE=216000000
RCC.SYSCLKSource=RCC_SYSCLKSOURCE_PLLCLK
RCC.USBFreq_Value=216000000
RCC.VCOOutputFreq_Value=432000000
SPI1.CLKPhase=SPI_PHASE_1EDGE
SPI1.CLKPolarity=SPI_POLARITY_LOW
SPI1.CRCCalculation=SPI_CRCCALCULATION_DISABLE
SPI1.DataSize=SPI_DATASIZE_4BIT
SPI1.Direction=SPI_DIRECTION_2LINES
SPI1.FirstBit=SPI_FIRSTBIT_MSB
SPI1.Mode=SPI_MODE_SLAVE
SPI1.NSS=SPI_NSS_SOFT
SPI1.TIMode=SPI_TIMODE_DISABLE
SPI1.VirtualType=VM_SLAVE
TIM2.AutoReloadPreload=TIM_AUTORELOAD_PRELOAD_DISABLE
TIM2.ClockDivision=TIM_CLOCKDIVISION_DIV1
TIM2.CounterMode=TIM_COUNTERMODE_UP
TIM2.Period=DMX_TIM_CounterPeriod_x32
TIM2.Prescaler=DMX_TIM_Prescaler
TIM2.TIM_MasterOutputTrigger=TIM_TRGO_RESET
TIM2.TIM_MasterSlaveMode=TIM_MASTERSLAVEMODE_DISABLE
UART4.AutoBaudRateEnableParam=UART_ADVFEATURE_AUTOBAUDRATE_DISABLE
UART4.BaudRate=DMX_BAUD_RATE
UART4.DMADisableonRxErrorParam=UART_ADVFEATURE_DMA_ENABLEONRXERROR
UART4.DataInvertParam=UART_ADVFEATURE_DATAINV_DISABLE
UART4.MSBFirstParam=UART_ADVFEATURE_MSBFIRST_DISABLE
UART4.Mode=MODE_TX_RX
UART4.OneBitSampling=UART_ONE_BIT_SAMPLE_DISABLE
UART4.OverSampling=UART_OVERSAMPLING_16
UART4.OverrunDisableParam=UART_ADVFEATURE_OVERRUN_ENABLE
UART4.Parity=PARITY_NONE
UART4.RxPinLevelInvertParam=UART_ADVFEATURE_RXINV_DISABLE
UART4.StopBits=UART_STOPBITS_2
UART4.SwapParam=UART_ADVFEATURE_SWAP_DISABLE
UART4.TxPinLevelInvertParam=UART_ADVFEATURE_TXINV_DISABLE
UART4.WordLength=WORDLENGTH_8B
UART5.AutoBaudRateEnableParam=UART_ADVFEATURE_AUTOBAUDRATE_DISABLE
UART5.BaudRate=DMX_BAUD_RATE
UART5.DMADisableonRxErrorParam=UART_ADVFEATURE_DMA_ENABLEONRXERROR
UART5.DataInvertParam=UART_ADVFEATURE_DATAINV_DISABLE
UART5.MSBFirstParam=UART_ADVFEATURE_MSBFIRST_DISABLE
UART5.Mode=MODE_TX_RX
UART5.OneBitSampling=UART_ONE_BIT_SAMPLE_DISABLE
UART5.OverSampling=UART_OVERSAMPLING_16
UART5.OverrunDisableParam=UART_ADVFEATURE_OVERRUN_ENABLE
UART5.Parity=PARITY_NONE
UART5.RxPinLevelInvertParam=UART_ADVFEATURE_RXINV_DISABLE
UART5.StopBits=UART_STOPBITS_2
UART5.SwapParam=UART_ADVFEATURE_SWAP_DISABLE
UART5.TxPinLevelInvertParam=UART_ADVFEATURE_TXINV_DISABLE
UART5.WordLength=WORDLENGTH_8B
UART7.AutoBaudRateEnableParam=UART_ADVFEATURE_AUTOBAUDRATE_DISABLE
UART7.BaudRate=DMX_BAUD_RATE
UART7.DMADisableonRxErrorParam=UART_ADVFEATURE_DMA_ENABLEONRXERROR
UART7.DataInvertParam=UART_ADVFEATURE_DATAINV_DISABLE
UART7.MSBFirstParam=UART_ADVFEATURE_MSBFIRST_DISABLE
UART7.Mode=MODE_TX_RX
UART7.OneBitSampling=UART_ONE_BIT_SAMPLE_DISABLE
UART7.OverSampling=UART_OVERSAMPLING_16
UART7.OverrunDisableParam=UART_ADVFEATURE_OVERRUN_ENABLE
UART7.Parity=PARITY_NONE
UART7.RxPinLevelInvertParam=UART_ADVFEATURE_RXINV_DISABLE
UART7.StopBits=UART_STOPBITS_2
UART7.SwapParam=UART_ADVFEATURE_SWAP_DISABLE
UART7.TxPinLevelInvertParam=UART_ADVFEATURE_TXINV_DISABLE
UART7.WordLength=WORDLENGTH_8B
UART8.AutoBaudRateEnableParam=UART_ADVFEATURE_AUTOBAUDRATE_DISABLE
UART8.BaudRate=DMX_BAUD_RATE
UART8.DMADisableonRxErrorParam=UART_ADVFEATURE_DMA_ENABLEONRXERROR
UART8.DataInvertParam=UART_ADVFEATURE_DATAINV_DISABLE
UART8.MSBFirstParam=UART_ADVFEATURE_MSBFIRST_DISABLE
UART8.Mode=MODE_TX_RX
UART8.OneBitSampling=UART_ONE_BIT_SAMPLE_DISABLE
UART8.OverSampling=UART_OVERSAMPLING_16
UART8.OverrunDisableParam=UART_ADVFEATURE_OVERRUN_ENABLE
UART8.Parity=PARITY_NONE
UART8.RxPinLevelInvertParam=UART_ADVFEATURE_RXINV_DISABLE
UART8.StopBits=UART_STOPBITS_2
UART8.SwapParam=UART_ADVFEATURE_SWAP_DISABLE
UART8.TxPinLevelInvertParam=UART_ADVFEATURE_TXINV_DISABLE
UART8.WordLength=WORDLENGTH_8B
USART1.AutoBaudRateEnableParam=UART_ADVFEATURE_AUTOBAUDRATE_DISABLE
USART1.BaudRate=DMX_BAUD_RATE
USART1.DMADisableonRxErrorParam=ADVFEATURE_DMA_ENABLEONRXERROR
USART1.DataInvertParam=ADVFEATURE_DATAINV_DISABLE
USART1.MSBFirstParam=ADVFEATURE_MSBFIRST_DISABLE
USART1.Mode=MODE_TX_RX
USART1.OneBitSampling=UART_ONE_BIT_SAMPLE_DISABLE
USART1.OverSampling=UART_OVERSAMPLING_16
USART1.OverrunDisableParam=ADVFEATURE_OVERRUN_ENABLE
USART1.Parity=PARITY_NONE
USART1.RxPinLevelInvertParam=ADVFEATURE_RXINV_DISABLE
USART1.StopBits=STOPBITS_2
USART1.SwapParam=ADVFEATURE_SWAP_DISABLE
USART1.TxPinLevelInvertParam=ADVFEATURE_TXINV_DISABLE
USART1.VirtualMode-Asynchronous=VM_ASYNC
USART1.WordLength=WORDLENGTH_8B
USART2.AutoBaudRateEnableParam=UART_ADVFEATURE_AUTOBAUDRATE_DISABLE
USART2.BaudRate=DMX_BAUD_RATE
USART2.DMADisableonRxErrorParam=ADVFEATURE_DMA_ENABLEONRXERROR
USART2.DataInvertParam=ADVFEATURE_DATAINV_DISABLE
USART2.MSBFirstParam=ADVFEATURE_MSBFIRST_DISABLE
USART2.Mode=MODE_TX_RX
USART2.OneBitSampling=UART_ONE_BIT_SAMPLE_DISABLE
USART2.OverSampling=UART_OVERSAMPLING_16
USART2.OverrunDisableParam=ADVFEATURE_OVERRUN_ENABLE
USART2.Parity=PARITY_NONE
USART2.RxPinLevelInvertParam=ADVFEATURE_RXINV_DISABLE
USART2.StopBits=STOPBITS_2
USART2.SwapParam=ADVFEATURE_SWAP_DISABLE
USART2.TxPinLevelInvertParam=ADVFEATURE_TXINV_DISABLE
USART2.VirtualMode-Asynchronous=VM_ASYNC
USART2.WordLength=WORDLENGTH_8B
USART3.AutoBaudRateEnableParam=UART_ADVFEATURE_AUTOBAUDRATE_DISABLE
USART3.BaudRate=115200
USART3.DMADisableonRxErrorParam=ADVFEATURE_DMA_ENABLEONRXERROR
USART3.DataInvertParam=ADVFEATURE_DATAINV_DISABLE
USART3.MSBFirstParam=ADVFEATURE_MSBFIRST_DISABLE
USART3.Mode=MODE_TX_RX
USART3.OneBitSampling=UART_ONE_BIT_SAMPLE_DISABLE
USART3.OverSampling=UART_OVERSAMPLING_16
USART3.OverrunDisableParam=ADVFEATURE_OVERRUN_ENABLE
USART3.Parity=PARITY_NONE
USART3.RxPinLevelInvertParam=ADVFEATURE_RXINV_DISABLE
USART3.StopBits=STOPBITS_1
USART3.SwapParam=ADVFEATURE_SWAP_DISABLE
USART3.TxPinLevelInvertParam=ADVFEATURE_TXINV_DISABLE
USART3.VirtualMode-Asynchronous=VM_ASYNC
USART3.WordLength=WORDLENGTH_8B
USART6.AutoBaudRateEnableParam=UART_ADVFEATURE_AUTOBAUDRATE_DISABLE
USART6.BaudRate=DMX_BAUD_RATE
USART6.DMADisableonRxErrorParam=ADVFEATURE_DMA_ENABLEONRXERROR
USART6.DataInvertParam=ADVFEATURE_DATAINV_DISABLE
USART6.MSBFirstParam=ADVFEATURE_MSBFIRST_DISABLE
USART6.Mode=MODE_TX_RX
USART6.OneBitSampling=UART_ONE_BIT_SAMPLE_DISABLE
USART6.OverSampling=UART_OVERSAMPLING_16
USART6.OverrunDisableParam=ADVFEATURE_OVERRUN_ENABLE
USART6.Parity=PARITY_NONE
USART6.RxPinLevelInvertParam=ADVFEATURE_RXINV_DISABLE
USART6.StopBits=STOPBITS_2
USART6.SwapParam=ADVFEATURE_SWAP_DISABLE
USART6.TxPinLevelInvertParam=ADVFEATURE_TXINV_DISABLE
USART6.VirtualMode-Asynchronous=VM_ASYNC
USART6.WordLength=WORDLENGTH_8B
VP_FREERTOS_VS_CMSIS_V1.Mode=CMSIS_V1
VP_LWIP_VS_Enabled.Mode=Enabled
VP_SYS_VS_tim14.Mode=TIM14
VP_TIM2_VS_ClockSourceINT.Mode=Internal
board=custom

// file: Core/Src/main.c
/* USER CODE BEGIN Header */
/**
  ******************************************************************************
  * @file           : main.c
  * @brief          : Main program body
  ******************************************************************************
  * @attention
  *
  * <h2><center>&copy; Copyright (c) 2019 STMicroelectronics.
  * All rights reserved.</center></h2>
  *
  * This software component is licensed by ST under BSD 3-Clause license,
  * the "License"; You may not use this file except in compliance with the
  * License. You may obtain a copy of the License at:
  *                        opensource.org/licenses/BSD-3-Clause
  *
  ******************************************************************************
  */
/* USER CODE END Header */

#include "main.h"
#include "cmsis_os.h"
#include "dma.h"
#include "gfxsimulator.h"
#include "i2c.h"
#include "lwip.h"
#include "spi.h"
#include "tim.h"
#include "usart.h"
#include "gpio.h"

/* USER CODE BEGIN Includes */
#include "./Dmx512/dmx512.h"
#include "./Art-Net/Art-Net.h"
/* USER CODE END Includes */

void SystemClock_Config(void);
void MX_FREERTOS_Init(void);

int main(void)
{

  /* MCU Configuration--------------------------------------------------------*/

  /* Reset of all peripherals, Initializes the Flash interface and the Systick. */
  HAL_Init();

  /* Configure the system clock */
  SystemClock_Config();

  /* Initialize all configured peripherals */
  MX_GPIO_Init();
  MX_DMA_Init();
  MX_GFXSIMULATOR_Init();
  MX_I2C4_Init();
  MX_SPI1_Init();
  MX_TIM2_Init();
  MX_UART4_Init();
  MX_UART5_Init();
  MX_UART7_Init();
  MX_UART8_Init();
  MX_USART1_UART_Init();
  MX_USART2_UART_Init();
  MX_USART3_UART_Init();
  MX_USART6_UART_Init();
  /* USER CODE BEGIN 2 */
  DMX_U01_Init(&htim2, &huart1);
  DMX_U02_Init(&htim2, &huart2);
  //DMX_U03_Init(&htim2, &huart3);
  DMX_U04_Init(&htim2, &huart4);
  DMX_U05_Init(&htim2, &huart5);
  DMX_U06_Init(&htim2, &huart6);
  DMX_U07_Init(&htim2, &huart7);
  DMX_U08_Init(&htim2, &huart8);
  /* USER CODE END 2 */

  /* Call init function for freertos objects (in freertos.c) */
  MX_FREERTOS_Init();

  /* Start scheduler */
  osKernelStart();

  /* We should never get here as control is now taken by the scheduler */

  /* Infinite loop */
  while (1)
  {

  }
}

void SystemClock_Config(void)
{
  RCC_OscInitTypeDef RCC_OscInitStruct = {0};
  RCC_ClkInitTypeDef RCC_ClkInitStruct = {0};
  RCC_PeriphCLKInitTypeDef PeriphClkInitStruct = {0};

  /** Configure LSE Drive Capability
  */
  HAL_PWR_EnableBkUpAccess();
  /** Configure the main internal regulator output voltage
  */
  __HAL_RCC_PWR_CLK_ENABLE();
  __HAL_PWR_VOLTAGESCALING_CONFIG(PWR_REGULATOR_VOLTAGE_SCALE1);
  /** Initializes the CPU, AHB and APB busses clocks
  */
  RCC_OscInitStruct.OscillatorType = RCC_OSCILLATORTYPE_HSI;
  RCC_OscInitStruct.HSIState = RCC_HSI_ON;
  RCC_OscInitStruct.HSICalibrationValue = RCC_HSICALIBRATION_DEFAULT;
  RCC_OscInitStruct.PLL.PLLState = RCC_PLL_ON;
  RCC_OscInitStruct.PLL.PLLSource = RCC_PLLSOURCE_HSI;
  RCC_OscInitStruct.PLL.PLLM = 8;
  RCC_OscInitStruct.PLL.PLLN = 216;
  RCC_OscInitStruct.PLL.PLLP = RCC_PLLP_DIV2;
  RCC_OscInitStruct.PLL.PLLQ = 2;
  if (HAL_RCC_OscConfig(&RCC_OscInitStruct) != HAL_OK)
  {
    Error_Handler();
  }
  /** Activate the Over-Drive mode
  */
  if (HAL_PWREx_EnableOverDrive() != HAL_OK)
  {
    Error_Handler();
  }
  /** Initializes the CPU, AHB and APB busses clocks
  */
  RCC_ClkInitStruct.ClockType = RCC_CLOCKTYPE_HCLK|RCC_CLOCKTYPE_SYSCLK
                              |RCC_CLOCKTYPE_PCLK1|RCC_CLOCKTYPE_PCLK2;
  RCC_ClkInitStruct.SYSCLKSource = RCC_SYSCLKSOURCE_PLLCLK;
  RCC_ClkInitStruct.AHBCLKDivider = RCC_SYSCLK_DIV1;
  RCC_ClkInitStruct.APB1CLKDivider = RCC_HCLK_DIV4;
  RCC_ClkInitStruct.APB2CLKDivider = RCC_HCLK_DIV2;

  if (HAL_RCC_ClockConfig(&RCC_ClkInitStruct, FLASH_LATENCY_7) != HAL_OK)
  {
    Error_Handler();
  }
  PeriphClkInitStruct.PeriphClockSelection = RCC_PERIPHCLK_USART1|RCC_PERIPHCLK_USART2
                              |RCC_PERIPHCLK_USART3|RCC_PERIPHCLK_USART6
                              |RCC_PERIPHCLK_UART4|RCC_PERIPHCLK_UART5
                              |RCC_PERIPHCLK_UART7|RCC_PERIPHCLK_UART8
                              |RCC_PERIPHCLK_I2C4;
  PeriphClkInitStruct.Usart1ClockSelection = RCC_USART1CLKSOURCE_PCLK2;
  PeriphClkInitStruct.Usart2ClockSelection = RCC_USART2CLKSOURCE_PCLK1;
  PeriphClkInitStruct.Usart3ClockSelection = RCC_USART3CLKSOURCE_PCLK1;
  PeriphClkInitStruct.Uart4ClockSelection = RCC_UART4CLKSOURCE_PCLK1;
  PeriphClkInitStruct.Uart5ClockSelection = RCC_UART5CLKSOURCE_PCLK1;
  PeriphClkInitStruct.Usart6ClockSelection = RCC_USART6CLKSOURCE_PCLK2;
  PeriphClkInitStruct.Uart7ClockSelection = RCC_UART7CLKSOURCE_PCLK1;
  PeriphClkInitStruct.Uart8ClockSelection = RCC_UART8CLKSOURCE_PCLK1;
  PeriphClkInitStruct.I2c4ClockSelection = RCC_I2C4CLKSOURCE_PCLK1;
  if (HAL_RCCEx_PeriphCLKConfig(&PeriphClkInitStruct) != HAL_OK)
  {
    Error_Handler();
  }
}

void HAL_TIM_PeriodElapsedCallback(TIM_HandleTypeDef *htim)
{
  if (htim->Instance == TIM14) {
    HAL_IncTick();
  }
}

void Error_Handler(void)
{
}

/************************ (C) COPYRIGHT STMicroelectronics *****END OF FILE****/

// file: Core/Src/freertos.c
/* USER CODE BEGIN Header */
/**
  ******************************************************************************
  * File Name          : freertos.c
  * Description        : Code for freertos applications
  ******************************************************************************
  * @attention
  *
  * <h2><center>&copy; Copyright (c) 2019 STMicroelectronics.
  * All rights reserved.</center></h2>
  *
  * This software component is licensed by ST under Ultimate Liberty license
  * SLA0044, the "License"; You may not use this file except in compliance with
  * the License. You may obtain a copy of the License at:
  *                             www.st.com/SLA0044
  *
  ******************************************************************************
  */
/* USER CODE END Header */

#include "FreeRTOS.h"
#include "task.h"
#include "main.h"
#include "cmsis_os.h"

/* USER CODE BEGIN Includes */
#include "./Dmx512/dmx512_Test.h"
/* USER CODE END Includes */

osThreadId defaultTaskHandle;
osThreadId DMX_TX_U01Handle;
osThreadId DMX_TX_U02Handle;
osThreadId DMX_TX_U03Handle;
osThreadId DMX_TX_U04Handle;
osThreadId DMX_TX_U05Handle;
osThreadId DMX_TX_U06Handle;
osThreadId DMX_TX_U07Handle;
osThreadId DMX_TX_U08Handle;

void StartDefaultTask(void const * argument);
void Start_DMX_TX_U01(void const * argument);
void Start_DMX_TX_U02(void const * argument);
void Start_DMX_TX_U03(void const * argument);
void Start_DMX_TX_U04(void const * argument);
void Start_DMX_TX_U05(void const * argument);
void Start_DMX_TX_U06(void const * argument);
void Start_DMX_TX_U07(void const * argument);
void Start_DMX_TX_U08(void const * argument);

extern void MX_LWIP_Init(void);
void MX_FREERTOS_Init(void); /* (MISRA C 2004 rule 8.1) */

/* Hook prototypes */
void configureTimerForRunTimeStats(void);
unsigned long getRunTimeCounterValue(void);

/* USER CODE BEGIN 1 */
/* Functions needed when configGENERATE_RUN_TIME_STATS is on */
__weak void configureTimerForRunTimeStats(void)
{

}

__weak unsigned long getRunTimeCounterValue(void)
{
return 0;
}
/* USER CODE END 1 */

void MX_FREERTOS_Init(void) {

  /* Create the thread(s) */
  /* definition and creation of defaultTask */
  osThreadDef(defaultTask, StartDefaultTask, osPriorityNormal, 0, 128);
  defaultTaskHandle = osThreadCreate(osThread(defaultTask), NULL);

  /* definition and creation of DMX_TX_U01 */
  osThreadDef(DMX_TX_U01, Start_DMX_TX_U01, osPriorityNormal, 0, 128);
  DMX_TX_U01Handle = osThreadCreate(osThread(DMX_TX_U01), NULL);

  /* definition and creation of DMX_TX_U02 */
  osThreadDef(DMX_TX_U02, Start_DMX_TX_U02, osPriorityNormal, 0, 128);
  DMX_TX_U02Handle = osThreadCreate(osThread(DMX_TX_U02), NULL);

  /* definition and creation of DMX_TX_U03 */
  osThreadDef(DMX_TX_U03, Start_DMX_TX_U03, osPriorityNormal, 0, 128);
  DMX_TX_U03Handle = osThreadCreate(osThread(DMX_TX_U03), NULL);

  /* definition and creation of DMX_TX_U04 */
  osThreadDef(DMX_TX_U04, Start_DMX_TX_U04, osPriorityNormal, 0, 128);
  DMX_TX_U04Handle = osThreadCreate(osThread(DMX_TX_U04), NULL);

  /* definition and creation of DMX_TX_U05 */
  osThreadDef(DMX_TX_U05, Start_DMX_TX_U05, osPriorityNormal, 0, 128);
  DMX_TX_U05Handle = osThreadCreate(osThread(DMX_TX_U05), NULL);

  /* definition and creation of DMX_TX_U06 */
  osThreadDef(DMX_TX_U06, Start_DMX_TX_U06, osPriorityNormal, 0, 128);
  DMX_TX_U06Handle = osThreadCreate(osThread(DMX_TX_U06), NULL);

  /* definition and creation of DMX_TX_U07 */
  osThreadDef(DMX_TX_U07, Start_DMX_TX_U07, osPriorityNormal, 0, 128);
  DMX_TX_U07Handle = osThreadCreate(osThread(DMX_TX_U07), NULL);

  /* definition and creation of DMX_TX_U08 */
  osThreadDef(DMX_TX_U08, Start_DMX_TX_U08, osPriorityNormal, 0, 128);
  DMX_TX_U08Handle = osThreadCreate(osThread(DMX_TX_U08), NULL);

}

void StartDefaultTask(void const * argument)
{
  /* init code for LWIP */
  MX_LWIP_Init();

  for(;;)
  {
	  osDelay(1);
  }
}

void Start_DMX_TX_U01(void const * argument)
{
  /* USER CODE BEGIN Start_DMX_TX_U01 */
  /* Infinite loop */
  for(;;)
  {
	DMX_TX_U01_Testing();
  }
  /* USER CODE END Start_DMX_TX_U01 */
}

void Start_DMX_TX_U02(void const * argument)
{
  /* USER CODE BEGIN Start_DMX_TX_U02 */
  /* Infinite loop */
  for(;;)
  {
	DMX_TX_U02_Testing();
  }
  /* USER CODE END Start_DMX_TX_U02 */
}

void Start_DMX_TX_U03(void const * argument)
{
  /* USER CODE BEGIN Start_DMX_TX_U03 */
  /* Infinite loop */
  for(;;)
  {
	DMX_TX_U03_Testing();
  }
  /* USER CODE END Start_DMX_TX_U03 */
}

void Start_DMX_TX_U04(void const * argument)
{
  /* USER CODE BEGIN Start_DMX_TX_U04 */
  /* Infinite loop */
  for(;;)
  {
	DMX_TX_U04_Testing();
  }
  /* USER CODE END Start_DMX_TX_U04 */
}

void Start_DMX_TX_U05(void const * argument)
{
  /* USER CODE BEGIN Start_DMX_TX_U05 */
  /* Infinite loop */
  for(;;)
  {
	DMX_TX_U05_Testing();
  }
  /* USER CODE END Start_DMX_TX_U05 */
}

void Start_DMX_TX_U06(void const * argument)
{
  /* USER CODE BEGIN Start_DMX_TX_U06 */
  /* Infinite loop */
  for(;;)
  {
	DMX_TX_U06_Testing();
  }
  /* USER CODE END Start_DMX_TX_U06 */
}

void Start_DMX_TX_U07(void const * argument)
{
  /* USER CODE BEGIN Start_DMX_TX_U07 */
  /* Infinite loop */
  for(;;)
  {
	DMX_TX_U07_Testing();
  }
  /* USER CODE END Start_DMX_TX_U07 */
}

void Start_DMX_TX_U08(void const * argument)
{
  /* USER CODE BEGIN Start_DMX_TX_U08 */
  /* Infinite loop */
  for(;;)
  {
	DMX_TX_U08_Testing();
  }
  /* USER CODE END Start_DMX_TX_U08 */
}

/************************ (C) COPYRIGHT STMicroelectronics *****END OF FILE****/
